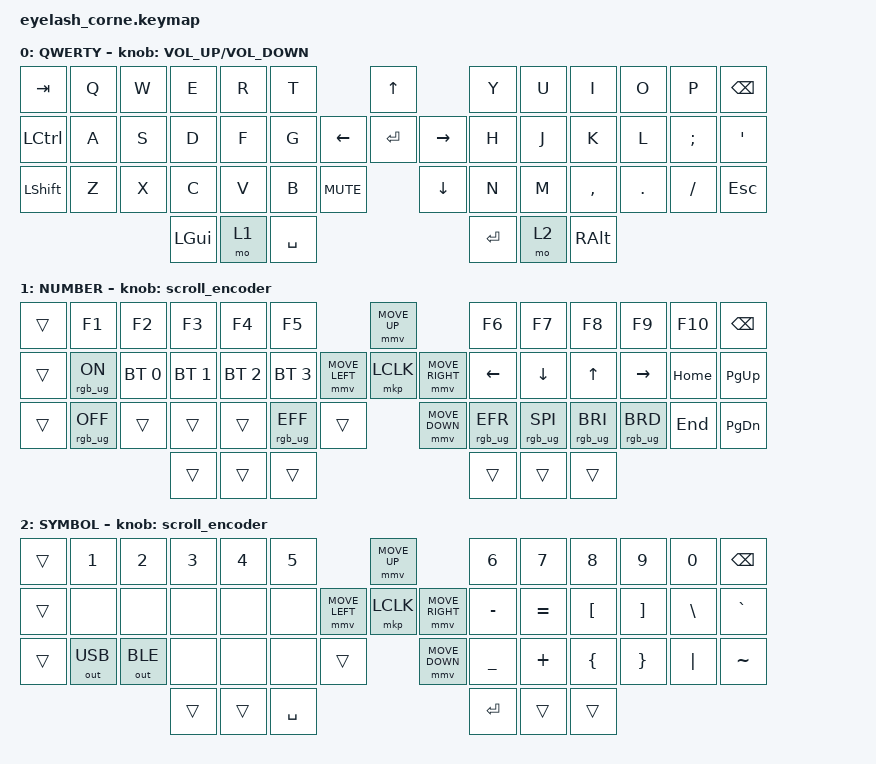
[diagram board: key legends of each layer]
#define ZMK_POINTING_DEFAULT_MOVE_VAL 1200  // 600
#define ZMK_POINTING_DEFAULT_SCRL_VAL 25   // 10

#include <input/processors.dtsi>
#include <zephyr/dt-bindings/input/input-event-codes.h>
#include <behaviors.dtsi>
#include <dt-bindings/zmk/bt.h>
#include <dt-bindings/zmk/keys.h>
#include <dt-bindings/zmk/outputs.h>
#include <dt-bindings/zmk/pointing.h>
#include <dt-bindings/zmk/rgb.h>

&mmv_input_listener { input-processors = <&zip_xy_scaler 2 1>; };

&msc_input_listener { input-processors = <&zip_scroll_scaler 2 1>; };

&msc {
    acceleration-exponent = <1>;      // 0
    time-to-max-speed-ms = <100>;       // 300
    delay-ms = <0>;                   // 0
};

&mmv {
    time-to-max-speed-ms = <500>;
    acceleration-exponent = <1>;
    trigger-period-ms = <16>;
};

&soft_off { hold-time-ms = <2000>; };

/ {
    behaviors {
    };

    rgb_encoder: rgb_encoder {
        compatible = "zmk,behavior-sensor-rotate";
        #sensor-binding-cells = <0>;
        bindings = <&rgb_ug RGB_BRI>, <&rgb_ug RGB_BRD>;
    };

    scroll_encoder: scroll_encoder {
        compatible = "zmk,behavior-sensor-rotate";
        #sensor-binding-cells = <0>;
        bindings = <&msc SCRL_DOWN>, <&msc SCRL_UP>;

        tap-ms = <100>;
    };

    combos {
        compatible = "zmk,combos";

        softoff {
            bindings = <&soft_off>;
            key-positions = <1 15 29>;
        };
    };

    keymap {
        compatible = "zmk,keymap";

        default_layer {
            display-name = "QWERTY";
            bindings = <
&kp TAB           &kp Q  &kp W  &kp E     &kp R  &kp T                              &kp UP                &kp Y      &kp U  &kp I      &kp O    &kp P     &kp BSPC
&kp LEFT_CONTROL  &kp A  &kp S  &kp D     &kp F  &kp G                    &kp LEFT  &kp ENTER  &kp RIGHT  &kp H      &kp J  &kp K      &kp L    &kp SEMI  &kp SQT
&kp LEFT_SHIFT    &kp Z  &kp X  &kp C     &kp V  &kp B      &kp C_MUTE              &kp DOWN              &kp N      &kp M  &kp COMMA  &kp DOT  &kp FSLH  &kp ESC
                                &kp LGUI  &mo 1  &kp SPACE                                                &kp ENTER  &mo 2  &kp RALT
            >;

            sensor-bindings = <&inc_dec_kp C_VOLUME_UP C_VOLUME_DOWN>;
        };

        lower_layer {
            display-name = "NUMBER";
            bindings = <
&trans  &kp F1           &kp F2        &kp F3        &kp F4        &kp F5                                     &mmv MOVE_UP                     &kp F6           &kp F7           &kp F8           &kp F9           &kp F10   &kp BSPC
&trans  &rgb_ug RGB_ON   &bt BT_SEL 0  &bt BT_SEL 1  &bt BT_SEL 2  &bt BT_SEL 3               &mmv MOVE_LEFT  &mkp LCLK       &mmv MOVE_RIGHT  &kp LEFT         &kp DOWN         &kp UP           &kp RIGHT        &kp HOME  &kp PG_UP
&trans  &rgb_ug RGB_OFF  &trans        &trans        &trans        &rgb_ug RGB_EFF  &trans                    &mmv MOVE_DOWN                   &rgb_ug RGB_EFR  &rgb_ug RGB_SPI  &rgb_ug RGB_BRI  &rgb_ug RGB_BRD  &kp END   &kp PG_DN
                                       &trans        &trans        &trans                                                                      &trans           &trans           &trans
            >;

            sensor-bindings = <&scroll_encoder>;
        };

        raise_layer {
            display-name = "SYMBOL";
            bindings = <
&trans  &kp NUMBER_1  &kp NUMBER_2  &kp NUMBER_3  &kp NUMBER_4  &kp N5                               &mmv MOVE_UP                     &kp NUMBER_6  &kp N7     &kp N8    &kp N9    &kp N0    &kp BSPC
&trans  &none         &none         &none         &none         &none                &mmv MOVE_LEFT  &mkp LCLK       &mmv MOVE_RIGHT  &kp MINUS     &kp EQUAL  &kp LBKT  &kp RBKT  &kp BSLH  &kp GRAVE
&trans  &out OUT_USB  &out OUT_BLE  &none         &none         &none      &trans                    &mmv MOVE_DOWN                   &kp UNDER     &kp PLUS   &kp LBRC  &kp RBRC  &kp PIPE  &kp TILDE
                                    &trans        &trans        &kp SPACE                                                             &kp RET       &trans     &trans
            >;

            sensor-bindings = <&scroll_encoder>;
        };
    };
};
